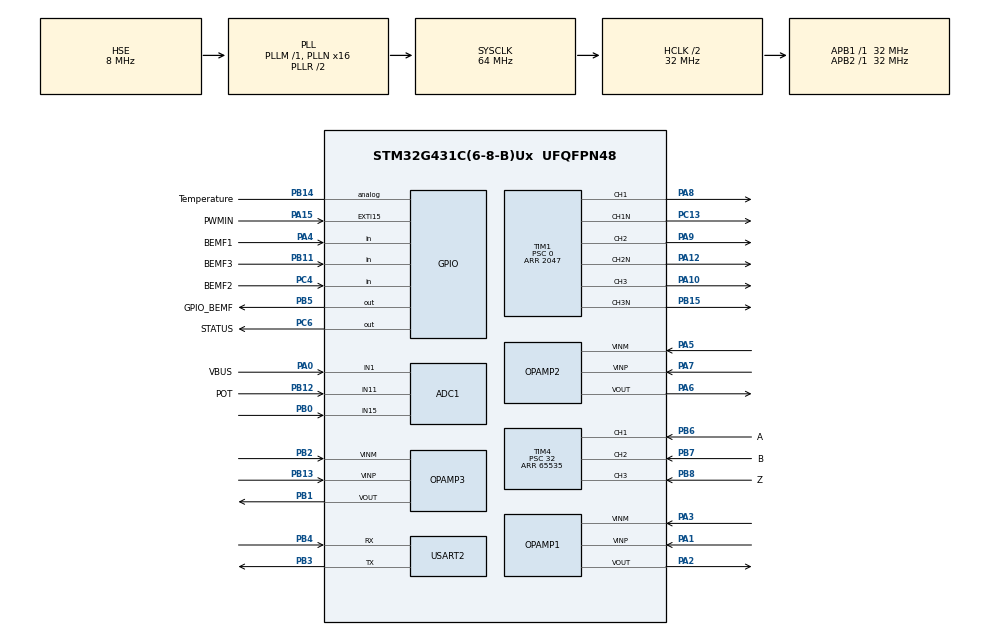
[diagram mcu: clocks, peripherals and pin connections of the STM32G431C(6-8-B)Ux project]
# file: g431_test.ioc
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Mcu.Family=STM32G4
TIM7.PeriodNoDither=65535
PA6.Mode=Standalone
RCC.CortexFreq_Value=32000000
ADC1.Overrun=ADC_OVR_DATA_OVERWRITTEN
ADC1.ContinuousConvMode=ENABLE
NVIC.TIM6_DAC_IRQn=true\:1\:0\:true\:false\:true\:true\:true
Dma.ADC1.0.Polarity=HAL_DMAMUX_REQ_GEN_RISING
Dma.USART2_RX.1.RequestNumber=1
VP_TIM4_VS_OPM.Mode=OPM_bit
TIM1.Break2State=TIM_BREAK2_DISABLE
PB14.GPIO_Label=Temperature
PA0.GPIO_Label=VBUS
PC6.GPIO_Label=STATUS
PB6.GPIO_Label=A
PB11.Signal=GPIO_Input
PB13.Signal=OPAMP3_VINP
PB15.Signal=TIM1_CH3N
Dma.USART2_RX.1.MemDataAlignment=DMA_MDATAALIGN_BYTE
RCC.SYSCLKSource=RCC_SYSCLKSOURCE_PLLCLK
ProjectManager.StackSize=0x400
VP_TIM7_VS_ClockSourceINT.Mode=Enable_Timer
PA15.GPIO_Label=PWMIN
PA12.Signal=TIM1_CH2N
TIM1.Prescaler=0
Dma.USART2_RX.1.SyncSignalID=NONE
PA15.GPIO_ModeDefaultEXTI=GPIO_MODE_IT_RISING_FALLING
RCC.HCLKFreq_Value=32000000
RCC.APB2TimFreq_Value=32000000
PB6.Signal=S_TIM4_CH1
Dma.ADC1.0.Direction=DMA_PERIPH_TO_MEMORY
TIM1.AutomaticOutput=TIM_AUTOMATICOUTPUT_ENABLE
Dma.USART2_RX.1.PeriphInc=DMA_PINC_DISABLE
Dma.USART2_RX.1.MemInc=DMA_MINC_ENABLE
Dma.ADC1.0.MemDataAlignment=DMA_MDATAALIGN_HALFWORD
RCC.AHBFreq_Value=32000000
NVIC.EXTI15_10_IRQn=true\:0\:0\:false\:false\:true\:true\:true
ADC1.Channel-0\#ChannelRegularConversion=ADC_CHANNEL_11
RCC.HSE_VALUE=8000000
PB3.Mode=Asynchronous
PB2.Signal=OPAMP3_VINM
USART2.VirtualMode-Asynchronous=VM_ASYNC
RCC.ADC12Freq_Value=64000000
PB12.GPIO_Label=POT
TIM1.Break2Polarity=TIM_BREAK2POLARITY_LOW
NVIC.TIM1_TRG_COM_TIM17_IRQn=true\:0\:0\:false\:false\:true\:true\:true
PB4.Mode=Asynchronous
Dma.USART2_RX.1.SyncPolarity=HAL_DMAMUX_SYNC_NO_EVENT
Dma.USART2_RX.1.SyncEnable=DISABLE
PC4.GPIO_Label=BEMF2
PA14.Mode=Serial_Wire
Dma.ADC1.0.PeriphInc=DMA_PINC_DISABLE
TIM1.DeadTime=1
VP_SYS_VS_DBSignals.Mode=DisableDeadBatterySignals
SH.S_TIM4_CH2.0=TIM4_CH2,Xored_Inputs_Hall_Sensor_Interface
PB7.Signal=S_TIM4_CH2
PA8.Signal=S_TIM1_CH1
VP_TIM1_VS_ClockSourceINT.Mode=Internal
ADC1.SamplingTime-0\#ChannelRegularConversion=ADC_SAMPLETIME_92CYCLES_5
PA0.Signal=SharedAnalog_PA0
PB7.GPIO_Label=B
Mcu.Package=UFQFPN48
PB1.Signal=OPAMP3_VOUT
PA6.Signal=OPAMP2_VOUT
TIM6.PeriodNoDither=8
PA10.Signal=S_TIM1_CH3
PA15.Signal=GPXTI15
ADC1.OffsetNumber-1\#ChannelRegularConversion=ADC_OFFSET_NONE
PB8-BOOT0.GPIO_Label=Z
Dma.USART2_RX.1.SyncRequestNumber=1
PB5.GPIO_Label=GPIO_BEMF
TIM1.BreakState=TIM_BREAK_DISABLE
SH.S_TIM4_CH1.0=TIM4_CH1,Xored_Inputs_Hall_Sensor_Interface
Dma.Request1=USART2_RX
RCC.APB1TimFreq_Value=32000000
PB13.Mode=Standalone
PF1-OSC_OUT.Mode=HSE-External-Oscillator
Dma.USART2_RX.1.Mode=DMA_CIRCULAR
Dma.Request0=ADC1
PA4.GPIO_Label=BEMF1
ADC1.EOCSelection=ADC_EOC_SEQ_CONV
NVIC.TIM7_IRQn=true\:0\:0\:false\:false\:true\:true\:true
PF1-OSC_OUT.Signal=RCC_OSC_OUT
Dma.ADC1.0.EventEnable=DISABLE
RCC.HSI48_VALUE=48000000
PB4.Signal=USART2_RX
PA3.Signal=OPAMP1_VINM
PA5.Mode=Standalone
RCC.PLLSourceVirtual=RCC_PLLSOURCE_HSE
Dma.USART2_RX.1.Priority=DMA_PRIORITY_LOW
Dma.ADC1.0.Instance=DMA1_Channel1
ADC1.Rank-0\#ChannelRegularConversion=1
PA7.Mode=Standalone
Dma.ADC1.0.SyncRequestNumber=1
SH.SharedAnalog_PA0.0=GPIO_Analog
SH.SharedAnalog_PA0.1=ADC1_IN1,IN1-Single-Ended
ADC1.OffsetNumber-0\#ChannelRegularConversion=ADC_OFFSET_NONE
PC13.Signal=TIM1_CH1N
Dma.USART2_RX.1.SignalID=NONE
TIM4.PeriodNoDither=65535
TIM6.Prescaler=3200
PC4.Signal=GPIO_Input
PC6.Signal=GPIO_Output
VP_TIM6_VS_ClockSourceINT.Mode=Enable_Timer
PB11.GPIO_Label=BEMF3
RCC.EXTERNAL_CLOCK_VALUE=12288000
TIM1.Channel-PWM\ Generation1\ CH1\ CH1N=TIM_CHANNEL_1
NVIC.USART2_IRQn=true\:0\:0\:false\:false\:true\:true\:true
PA3.Mode=Standalone
PA13.Signal=SYS_JTMS-SWDIO
TIM1.Channel-PWM\ Generation2\ CH2\ CH2N=TIM_CHANNEL_2
Dma.ADC1.0.PeriphDataAlignment=DMA_PDATAALIGN_HALFWORD
SH.S_TIM1_CH1.0=TIM1_CH1,PWM Generation1 CH1 CH1N
NVIC.DMA1_Channel2_IRQn=true\:0\:0\:false\:false\:true\:false\:true
ProjectManager.TargetToolchain=SW4STM32
Dma.ADC1.0.Mode=DMA_CIRCULAR
SH.S_TIM4_CH3.0=TIM4_CH3,Xored_Inputs_Hall_Sensor_Interface
Dma.ADC1.0.SignalID=NONE
Dma.ADC1.0.SyncSignalID=NONE
Dma.ADC1.0.Priority=DMA_PRIORITY_LOW
PA9.Signal=S_TIM1_CH2
ADC1.Channel-1\#ChannelRegularConversion=ADC_CHANNEL_1
VP_TIM1_VS_ClockSourceITR.Mode=TriggerSource_ITR3
TIM1.Channel-PWM\ Generation3\ CH3\ CH3N=TIM_CHANNEL_3
RCC.USBFreq_Value=64000000
TIM4.Prescaler=32
RCC.LSE_VALUE=32768
PA1.Signal=OPAMP1_VINP
Dma.USART2_RX.1.Instance=DMA1_Channel2
PF0-OSC_IN.Mode=HSE-External-Oscillator
PB14.Signal=GPIO_Analog
Dma.USART2_RX.1.Direction=DMA_PERIPH_TO_MEMORY
PA5.Signal=OPAMP2_VINM
Dma.USART2_RX.1.PeriphDataAlignment=DMA_PDATAALIGN_BYTE
PB0.Mode=IN15-Single-Ended
PB8-BOOT0.Signal=S_TIM4_CH3
TIM7.Prescaler=32
board=custom
RCC.VCOOutputFreq_Value=128000000
PB15.Mode=PWM Generation3 CH3 CH3N
Dma.ADC1.0.SyncPolarity=HAL_DMAMUX_SYNC_NO_EVENT
RCC.APB2Freq_Value=32000000
SH.SharedAnalog_PB12.1=ADC1_IN11,IN11-Single-Ended
PA1.Mode=Standalone
SH.SharedAnalog_PB12.0=GPIO_Analog
SH.S_TIM1_CH2.0=TIM1_CH2,PWM Generation2 CH2 CH2N
Dma.USART2_RX.1.EventEnable=DISABLE
RCC.AHBCLKDivider=RCC_SYSCLK_DIV2
ADC1.DMAContinuousRequests=DISABLE
TIM1.BreakPolarity=TIM_BREAKPOLARITY_HIGH
ADC1.NbrOfConversion=2
PC13.Mode=PWM Generation1 CH1 CH1N
PA13.Mode=Serial_Wire
Mcu.Name=STM32G431C(6-8-B)Ux
PA2.Signal=OPAMP1_VOUT
TIM4.Commutation_Delay=1
PB3.Signal=USART2_TX
PA4.Signal=GPIO_Input
ADC1.SamplingTime-1\#ChannelRegularConversion=ADC_SAMPLETIME_92CYCLES_5
RCC.SYSCLKFreq_VALUE=64000000
PB5.Signal=GPIO_Output
ADC1.master=1
Dma.USART2_RX.1.Polarity=HAL_DMAMUX_REQ_GEN_RISING
PA12.Mode=PWM Generation2 CH2 CH2N
PB2.Mode=Standalone
ADC1.Rank-1\#ChannelRegularConversion=2
Dma.ADC1.0.RequestNumber=1
Dma.ADC1.0.SyncEnable=DISABLE
PA14.Signal=SYS_JTCK-SWCLK
Dma.ADC1.0.MemInc=DMA_MINC_ENABLE
ProjectManager.HeapSize=0x200
PB1.Mode=Standalone
SH.S_TIM1_CH3.0=TIM1_CH3,PWM Generation3 CH3 CH3N
RCC.HSI_VALUE=16000000
VP_TIM4_VS_ClockSourceINT.Mode=Internal
NVIC.PriorityGroup=NVIC_PRIORITYGROUP_4
ADC1.NbrOfConversionFlag=1
RCC.PLLN=16
PA15.GPIO_PuPd=GPIO_PULLDOWN
PA2.Mode=Standalone
NVIC.DMA1_Channel1_IRQn=true\:0\:0\:false\:false\:true\:false\:true
PF0-OSC_IN.Signal=RCC_OSC_IN
NVIC.TIM4_IRQn=true\:0\:0\:false\:false\:true\:true\:true
RCC.APB1Freq_Value=32000000
PB0.Signal=ADC1_IN15
ADC1.ClockPrescaler=ADC_CLOCK_ASYNC_DIV8
PB12.Signal=SharedAnalog_PB12
TIM1.PeriodNoDither=2047
PA7.Signal=OPAMP2_VINP

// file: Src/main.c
/* USER CODE BEGIN Header */
/**
  ******************************************************************************
  * @file           : main.c
  * @brief          : Main program body
  ******************************************************************************
  * @attention
  *
  * <h2><center>&copy; Copyright (c) 2020 STMicroelectronics.
  * All rights reserved.</center></h2>
  *
  * This software component is licensed by ST under BSD 3-Clause license,
  * the "License"; You may not use this file except in compliance with the
  * License. You may obtain a copy of the License at:
  *                        opensource.org/licenses/BSD-3-Clause
  *
  ******************************************************************************
  */
/* USER CODE END Header */

#include "main.h"
#include "adc.h"
#include "dma.h"
#include "opamp.h"
#include "tim.h"
#include "usart.h"
#include "gpio.h"

/* USER CODE BEGIN Includes */
#include "enc.h"
#include "motor.h"
#include <stdio.h>
/* USER CODE END Includes */

void SystemClock_Config(void);

/* USER CODE BEGIN 0 */
extern volatile uint16_t adc1_reg[8];
extern DMA_HandleTypeDef hdma_adc1;
unsigned char uart_buf[128] = { 0 };
extern volatile uint8_t uart_rx_buf[UART_RX_BUF_SIZE];
extern volatile float torque, ctrl, speed_avg, next_speed;
extern volatile uint16_t pwmin;
// extern DMA_HandleTypeDef hdma_usart2_rx;
extern UART_HandleTypeDef huart2;
extern DMA_HandleTypeDef hdma_usart2_rx;
extern volatile uint8_t uart_rx_valid;
volatile uint32_t last_uart = 0;

extern imu_t imu, imu_avg;
/* USER CODE END 0 */

int main(void)
{

  /* MCU Configuration--------------------------------------------------------*/

  /* Reset of all peripherals, Initializes the Flash interface and the Systick. */
  HAL_Init();

  /* Configure the system clock */
  SystemClock_Config();

  /* Initialize all configured peripherals */
  MX_GPIO_Init();
  MX_DMA_Init();
  MX_OPAMP1_Init();
  MX_OPAMP2_Init();
  MX_OPAMP3_Init();
  MX_TIM1_Init();
  MX_TIM4_Init();
  MX_TIM6_Init();
  MX_ADC1_Init();
  MX_TIM7_Init();
  MX_USART2_UART_Init();
  /* USER CODE BEGIN 2 */

  htim1.Instance->DIER |= TIM_DIER_COMIE;
  hadc1.Instance->CFGR |= ADC_CFGR_DMACFG;
  // NOTE: the DMA must always be able to service the ADC: if the ADC OVR's, it'll stop DMA-ing even if the overrun behavior is set to overwrite (which doesn't make sense to me...)
  HAL_ADC_Start_DMA(&hadc1, adc1_reg, 2);
  hdma_adc1.Instance->CCR &= ~(DMA_CCR_HTIE | DMA_CCR_TEIE | DMA_CCR_TCIE);

  htim1.Instance->CR2 |= TIM_CR2_CCUS | TIM_CR2_CCPC;
  HAL_TIM_Base_Start(&htim1);

//  extern uint16_t state_en[6];
//  htim1.Instance->CCR1 = htim1.Instance->CCR2 = htim1.Instance->CCR3 = 600;
//  TIM1->CCER = state_en[5];
//  HAL_TIM_GenerateEvent(&htim1, TIM_EVENTSOURCE_COM);
//
//  HAL_Delay(600);

  htim4.Instance->DIER |= TIM_DIER_CC2IE;
  htim4.Instance->CCER |= TIM_CCER_CC1E; // | TIM_CCER_CC2E;
  __HAL_TIM_SET_COMPARE(&htim4, TIM_CHANNEL_2, 1);
  htim4.Instance->SMCR &= ~TIM_SMCR_SMS;
  htim4.Instance->SMCR |= TIM_SLAVEMODE_COMBINED_RESETTRIGGER; // make it reset and trigger so that those other instances hit too
//  htim4.Instance->CCMR1 &= ~TIM_CCMR1_OC2M_Msk;
//  htim4.Instance->CCMR1 |= 0b0001 << TIM_CCMR1_OC2M_Pos;
  HAL_TIM_Base_Start(&htim4);
//  htim1.Instance->DIER |= TIM_DIER_COMIE;

  HAL_TIM_Base_Start_IT(&htim6);
  HAL_TIM_Base_Start(&htim7);
  htim1.Instance->BDTR |= TIM_BDTR_MOE;

  HAL_ADC_Start(&hadc1);

  HAL_DMA_RegisterCallback(&hdma_usart2_rx, HAL_DMA_XFER_ALL_CB_ID, &DMA2_XferCpltCallback);
  HAL_UART_Receive_DMA(&huart2, uart_rx_buf, UART_RX_BUF_SIZE);

//  HAL_TIM_GenerateEvent(&htim4, TIM_EVENTSOURCE_TRIGGER);
  motor_tick(1);
  HAL_TIM_GenerateEvent(&htim1, TIM_EVENTSOURCE_COM);

//  __HAL_TIM_SET_COUNTER(&htim4, HALL_INIT);
//    motor_tick();
  /* USER CODE END 2 */

  /* Infinite loop */
  /* USER CODE BEGIN WHILE */
  uint8_t edge = 0;
//
//  extern volatile uint16_t ccr_;
//  TIM1->CCR1 = 0;
//  TIM1->CCR2 = 240;
//  TIM1->CCER = 0b000000010100;
//  for(uint8_t i = 20;; i += 4) {
//	  uint16_t ccr__ = ((uint16_t)i) * 160 / 256;
//	  TIM1->CCR1 = ccr__;
////	  HAL_Delay(200);
//  }

  for (volatile uint32_t ticks = 0;; ticks++)
  {
    /* USER CODE END WHILE */

    /* USER CODE BEGIN 3 */
	  uint32_t tick = HAL_GetTick();
//	  if(last_uart + UART_RX_INACTIVITY_TIMEOUT < tick) {
//		  uart_rx_valid = 0;
//	  }
	  if(1 || tick < 13000) { // HAL_GetTick() > 10000 &&
		  volatile uint16_t uart_buflen = sprintf(uart_buf, "%d\t%.1f\t%.1f\t%.1f\t%d\t%d\r\n", HAL_GetTick(), ctrl, torque, speed_avg, imu_avg.tilt, imu_avg.gyro); // "%d\t%.1f\r\n", HAL_GetTick(), speed_avg);
		  HAL_UART_Transmit_IT(&huart2, uart_buf, uart_buflen);
		  HAL_Delay(20);
	  }

//	  if(HAL_GPIO_ReadPin(BUTTON_GPIO_Port, BUTTON_Pin) == GPIO_PIN_RESET && !edge) {
//		  offset++;
//		  edge = 1;
//	  }
//	  if(HAL_GPIO_ReadPin(BUTTON_GPIO_Port, BUTTON_Pin) == GPIO_PIN_SET)
//		  edge = 0;

//	  HAL_GPIO_WritePin(STATUS_GPIO_Port, STATUS_Pin, abz & 1);
  }
  /* USER CODE END 3 */
}

void SystemClock_Config(void)
{
  RCC_OscInitTypeDef RCC_OscInitStruct = {0};
  RCC_ClkInitTypeDef RCC_ClkInitStruct = {0};
  RCC_PeriphCLKInitTypeDef PeriphClkInit = {0};

  /** Configure the main internal regulator output voltage
  */
  HAL_PWREx_ControlVoltageScaling(PWR_REGULATOR_VOLTAGE_SCALE1);
  /** Initializes the CPU, AHB and APB busses clocks
  */
  RCC_OscInitStruct.OscillatorType = RCC_OSCILLATORTYPE_HSE;
  RCC_OscInitStruct.HSEState = RCC_HSE_ON;
  RCC_OscInitStruct.PLL.PLLState = RCC_PLL_ON;
  RCC_OscInitStruct.PLL.PLLSource = RCC_PLLSOURCE_HSE;
  RCC_OscInitStruct.PLL.PLLM = RCC_PLLM_DIV1;
  RCC_OscInitStruct.PLL.PLLN = 16;
  RCC_OscInitStruct.PLL.PLLP = RCC_PLLP_DIV2;
  RCC_OscInitStruct.PLL.PLLQ = RCC_PLLQ_DIV2;
  RCC_OscInitStruct.PLL.PLLR = RCC_PLLR_DIV2;
  if (HAL_RCC_OscConfig(&RCC_OscInitStruct) != HAL_OK)
  {
    Error_Handler();
  }
  /** Initializes the CPU, AHB and APB busses clocks
  */
  RCC_ClkInitStruct.ClockType = RCC_CLOCKTYPE_HCLK|RCC_CLOCKTYPE_SYSCLK
                              |RCC_CLOCKTYPE_PCLK1|RCC_CLOCKTYPE_PCLK2;
  RCC_ClkInitStruct.SYSCLKSource = RCC_SYSCLKSOURCE_PLLCLK;
  RCC_ClkInitStruct.AHBCLKDivider = RCC_SYSCLK_DIV2;
  RCC_ClkInitStruct.APB1CLKDivider = RCC_HCLK_DIV1;
  RCC_ClkInitStruct.APB2CLKDivider = RCC_HCLK_DIV1;

  if (HAL_RCC_ClockConfig(&RCC_ClkInitStruct, FLASH_LATENCY_1) != HAL_OK)
  {
    Error_Handler();
  }
  /** Initializes the peripherals clocks
  */
  PeriphClkInit.PeriphClockSelection = RCC_PERIPHCLK_USART2|RCC_PERIPHCLK_ADC12;
  PeriphClkInit.Usart2ClockSelection = RCC_USART2CLKSOURCE_PCLK1;
  PeriphClkInit.Adc12ClockSelection = RCC_ADC12CLKSOURCE_SYSCLK;
  if (HAL_RCCEx_PeriphCLKConfig(&PeriphClkInit) != HAL_OK)
  {
    Error_Handler();
  }
}

/* USER CODE BEGIN 4 */
void DMA2_XferCpltCallback(DMA_HandleTypeDef *hdma) {
	uart_rx_valid = 1;
}
void HAL_UART_RxHalfCpltCallback(UART_HandleTypeDef *huart) {
	uart_rx_valid = 1;
	last_uart = HAL_GetTick();
}
/* USER CODE END 4 */

void Error_Handler(void)
{
}

/************************ (C) COPYRIGHT STMicroelectronics *****END OF FILE****/
